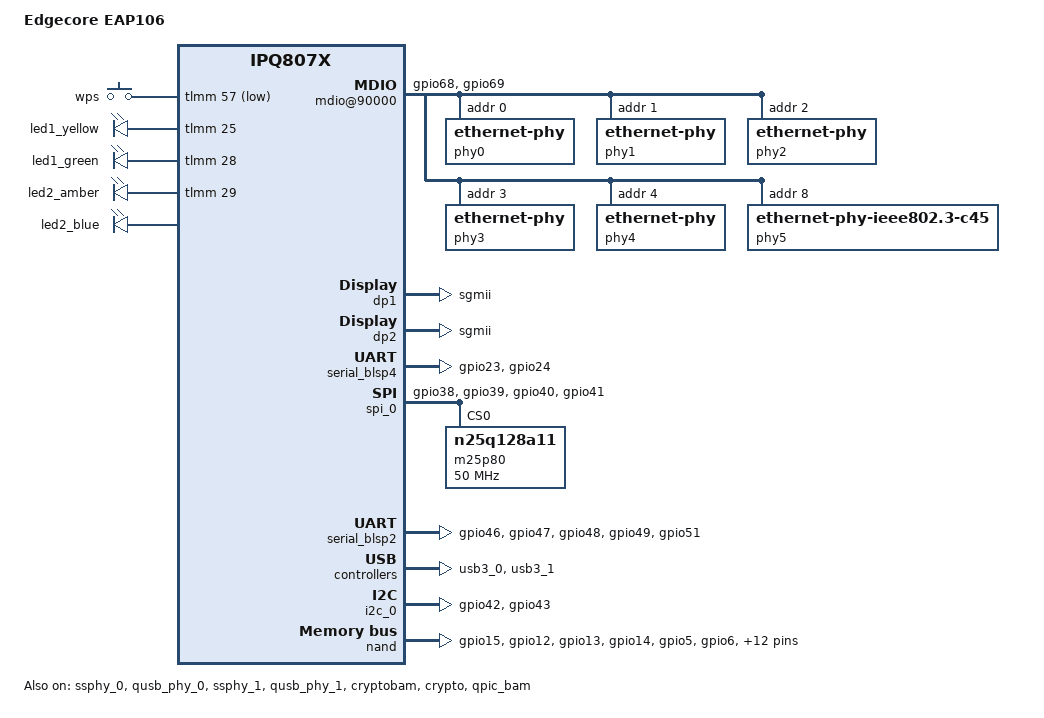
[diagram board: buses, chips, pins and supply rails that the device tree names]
/dts-v1/;
/*
 * Copyright (c) 2017-2018, The Linux Foundation. All rights reserved.
 *
 * Permission to use, copy, modify, and/or distribute this software for any
 * purpose with or without fee is hereby granted, provided that the above
 * copyright notice and this permission notice appear in all copies.
 *
 * THE SOFTWARE IS PROVIDED "AS IS" AND THE AUTHOR DISCLAIMS ALL WARRANTIES
 * WITH REGARD TO THIS SOFTWARE INCLUDING ALL IMPLIED WARRANTIES OF
 * MERCHANTABILITY AND FITNESS. IN NO EVENT SHALL THE AUTHOR BE LIABLE FOR
 * ANY SPECIAL, DIRECT, INDIRECT, OR CONSEQUENTIAL DAMAGES OR ANY DAMAGES
 * WHATSOEVER RESULTING FROM LOSS OF USE, DATA OR PROFITS, WHETHER IN AN
 * ACTION OF CONTRACT, NEGLIGENCE OR OTHER TORTIOUS ACTION, ARISING OUT OF
 * OR IN CONNECTION WITH THE USE OR PERFORMANCE OF THIS SOFTWARE.
 */
#include "qcom-ipq807x-soc.dtsi"
#include "qcom-ipq807x-hk-cpu.dtsi"

/ {
	#address-cells = <0x2>;
	#size-cells = <0x2>;
	model = "Edgecore EAP106";
	compatible = "edgecore,eap106", "qcom,ipq807x-hk02", "qcom,ipq807x";
	qcom,msm-id = <0x143 0x0>;
	interrupt-parent = <&intc>;
	qcom,board-id = <0x8 0x0>;
	qcom,pmic-id = <0x0 0x0 0x0 0x0>;

	aliases {
		/*
		 * Aliases as required by u-boot
		 * to patch MAC addresses
		 */
		ethernet0 = "/soc/dp1";
		ethernet1 = "/soc/dp2";
	};
	chosen {
		bootargs = "console=ttyMSM0,115200,n8 root=/dev/ram0 rw init=/init";
		#ifdef __IPQ_MEM_PROFILE_256_MB__
			bootargs-append = " swiotlb=1";
		#else
			bootargs-append = " swiotlb=1 coherent_pool=2M";
		#endif
	};
};

&tlmm {
	leds_pins: leds_pinmux {

		led1_yellow {
			pins = "gpio25";
			function = "gpio";
			drive-strength = <8>;
			bias-pull-down;
		};
		led1_green {
			pins = "gpio28";
			function = "gpio";
			drive-strength = <8>;
			bias-pull-down;
		};
		led2_amber {
			pins = "gpio29";
			function = "gpio";
			drive-strength = <8>;
			bias-pull-down;
		};
		led2_blue {
			pins = "gpio32";
			function = "gpio";
			drive-strength = <8>;
			bias-pull-down;
		};
	};

	mdio_pins: mdio_pinmux {
		mux_0 {
			pins = "gpio68";
			function = "mdc";
			drive-strength = <8>;
			bias-pull-up;
		};
		mux_1 {
			pins = "gpio69";
			function = "mdio";
			drive-strength = <8>;
			bias-pull-up;
		};
	};

	uart_pins: uart_pins {
		mux {
			pins = "gpio23", "gpio24";
			function = "blsp4_uart1";
			drive-strength = <8>;
			bias-disable;
		};
	};

	i2c_0_pins: i2c_0_pinmux {
		mux {
			pins = "gpio42", "gpio43";
			function = "blsp1_i2c";
			drive-strength = <8>;
			bias-disable;
		};
	};

	spi_0_pins: spi_0_pins {
		mux {
			pins = "gpio38", "gpio39", "gpio40", "gpio41";
			function = "blsp0_spi";
			drive-strength = <8>;
			bias-disable;
		};
	};

	qpic_pins: qpic_pins {
		data_0 {
			pins = "gpio15";
			function = "qpic_pad0";
			drive-strength = <8>;
			bias-disable;
		};
		data_1 {
			pins = "gpio12";
			function = "qpic_pad1";
			drive-strength = <8>;
			bias-disable;
		};
		data_2 {
			pins = "gpio13";
			function = "qpic_pad2";
			drive-strength = <8>;
			bias-disable;
		};
		data_3 {
			pins = "gpio14";
			function = "qpic_pad3";
			drive-strength = <8>;
			bias-disable;
		};
		data_4 {
			pins = "gpio5";
			function = "qpic_pad4";
			drive-strength = <8>;
			bias-disable;
		};
		data_5 {
			pins = "gpio6";
			function = "qpic_pad5";
			drive-strength = <8>;
			bias-disable;
		};
		data_6 {
			pins = "gpio7";
			function = "qpic_pad6";
			drive-strength = <8>;
			bias-disable;
		};
		data_7 {
			pins = "gpio8";
			function = "qpic_pad7";
			drive-strength = <8>;
			bias-disable;
		};
		data_8 {
			pins = "gpio16";
			function = "qpic_pad8";
			drive-strength = <8>;
			bias-disable;
		};
		qpic_pad {
			pins = "gpio0", "gpio1", "gpio2", "gpio3", "gpio4",
			       "gpio9", "gpio10", "gpio11", "gpio17";
			function = "qpic_pad";
			drive-strength = <8>;
			bias-disable;
		};
	};

	hsuart_pins: hsuart_pins {
		mux {
			pins = "gpio46", "gpio47", "gpio48", "gpio49";
			function = "blsp2_uart";
			drive-strength = <8>;
			bias-disable;
			output-low;
		};
		mux_1 {
			pins = "gpio51";
			function = "gpio";
			drive-strength = <8>;
			bias-disable;
			output-high;
		};
	};

	button_pins: button_pins {
		wps_button {
			pins = "gpio57";
			function = "gpio";
			drive-strength = <8>;
			bias-pull-up;
		};
	};

	uniphy_pins: uniphy_pinmux {
		mux {
			pins = "gpio60";
			function = "rx2";
			bias-disable;
		};
	};
	cnss_wlan_en_active: cnss_wlan_en_active {
		mux {
			pins = "gpio57";
			function = "gpio";
			drive-strength = <16>;
			output-high;
			bias-pull-up;
		};
	};

	cnss_wlan_en_sleep: cnss_wlan_en_sleep {
		mux {
			pins = "gpio57";
			function = "gpio";
			drive-strength = <2>;
			output-low;
			bias-pull-down;
		};
	};
};

&soc {
	gpio_keys {
		compatible = "gpio-keys";
		pinctrl-0 = <&button_pins>;
		pinctrl-names = "default";

		button@1 {
			label = "wps";
			linux,code = <KEY_WPS_BUTTON>;
			gpios = <&tlmm 57 GPIO_ACTIVE_LOW>;
			linux,input-type = <1>;
			debounce-interval = <60>;
		};
	};

	leds {
		compatible = "gpio-leds";
		pinctrl-0 = <&leds_pins>;
		pinctrl-names = "default";

		led@25 {
			label = "led1_yellow";
			gpios = <&tlmm 25 GPIO_ACTIVE_HIGH>;
			linux,default-trigger = "led1_yellow";
			default-state = "off";
		};

		led@28 {
			label = "led1_green";
			gpios = <&tlmm 28 GPIO_ACTIVE_HIGH>;
			linux,default-trigger = "led1_green";
			default-state = "off";
		};

		led@29 {
			label = "led2_amber";
			gpios = <&tlmm 29 GPIO_ACTIVE_HIGH>;
			linux,default-trigger = "led2_amber";
			default-state = "off";
		};

		led@32 {
			label = "led2_blue";
			gpio = <&tlmm 32 GPIO_ACTIVE_HIGH>;
			linux,default-trigger = "led2_blue";
			default-state = "off";
		};
	};

	mdio@90000 {
		pinctrl-0 = <&mdio_pins>;
		pinctrl-names = "default";
		phy-reset-gpio = <&tlmm 37 0>;
		phy0: ethernet-phy@0 {
			reg = <0>;
		};
		phy1: ethernet-phy@1 {
			reg = <1>;
		};
		phy2: ethernet-phy@2 {
			reg = <2>;
		};
		phy3: ethernet-phy@3 {
			reg = <3>;
		};
		phy4: ethernet-phy@4 {
			reg = <4>;
		};
		phy5: ethernet-phy@5 {
			compatible ="ethernet-phy-ieee802.3-c45";
			reg = <8>;
		};
	};

	ess-switch@3a000000 {
		pinctrl-0 = <&uniphy_pins>;
		pinctrl-names = "default";
		switch_cpu_bmp = <0x1>;  /* cpu port bitmap */
		switch_lan_bmp = <0x30>; /* lan port bitmap */
		switch_wan_bmp = <0x40>; /* wan port bitmap */
		switch_mac_mode = <0x0>; /* mac mode for uniphy instance0*/
		switch_mac_mode1 = <0xff>; /* mac mode for uniphy instance1*/
		switch_mac_mode2 = <0xd>; /* mac mode for uniphy instance2*/
		bm_tick_mode = <0>; /* bm tick mode */
		tm_tick_mode = <0>; /* tm tick mode */
		port_scheduler_resource {
			port@0 {
				port_id = <0>;
				ucast_queue = <0 143>;
				mcast_queue = <256 271>;
				l0sp = <0 35>;
				l0cdrr = <0 47>;
				l0edrr = <0 47>;
				l1cdrr = <0 7>;
				l1edrr = <0 7>;
			};
			port@1 {
				port_id = <1>;
				ucast_queue = <144 159>;
				mcast_queue = <272 275>;
				l0sp = <36 39>;
				l0cdrr = <48 63>;
				l0edrr = <48 63>;
				l1cdrr = <8 11>;
				l1edrr = <8 11>;
			};
			port@2 {
				port_id = <2>;
				ucast_queue = <160 175>;
				mcast_queue = <276 279>;
				l0sp = <40 43>;
				l0cdrr = <64 79>;
				l0edrr = <64 79>;
				l1cdrr = <12 15>;
				l1edrr = <12 15>;
			};
			port@3 {
				port_id = <3>;
				ucast_queue = <176 191>;
				mcast_queue = <280 283>;
				l0sp = <44 47>;
				l0cdrr = <80 95>;
				l0edrr = <80 95>;
				l1cdrr = <16 19>;
				l1edrr = <16 19>;
			};
			port@4 {
				port_id = <4>;
				ucast_queue = <192 207>;
				mcast_queue = <284 287>;
				l0sp = <48 51>;
				l0cdrr = <96 111>;
				l0edrr = <96 111>;
				l1cdrr = <20 23>;
				l1edrr = <20 23>;
			};
			port@5 {
				port_id = <5>;
				ucast_queue = <208 223>;
				mcast_queue = <288 291>;
				l0sp = <52 55>;
				l0cdrr = <112 127>;
				l0edrr = <112 127>;
				l1cdrr = <24 27>;
				l1edrr = <24 27>;
			};
			port@6 {
				port_id = <6>;
				ucast_queue = <224 239>;
				mcast_queue = <292 295>;
				l0sp = <56 59>;
				l0cdrr = <128 143>;
				l0edrr = <128 143>;
				l1cdrr = <28 31>;
				l1edrr = <28 31>;
			};
			port@7 {
				port_id = <7>;
				ucast_queue = <240 255>;
				mcast_queue = <296 299>;
				l0sp = <60 63>;
				l0cdrr = <144 159>;
				l0edrr = <144 159>;
				l1cdrr = <32 35>;
				l1edrr = <32 35>;
			};
		};
		port_scheduler_config {
			port@0 {
				port_id = <0>;
				l1scheduler {
					group@0 {
						sp = <0 1>; /*L0 SPs*/
						/*cpri cdrr epri edrr*/
						cfg = <0 0 0 0>;
					};
				};
				l0scheduler {
					group@0 {
						/*unicast queues*/
						ucast_queue = <0 4 8>;
						/*multicast queues*/
						mcast_queue = <256 260>;
						/*sp cpri cdrr epri edrr*/
						cfg = <0 0 0 0 0>;
					};
					group@1 {
						ucast_queue = <1 5 9>;
						mcast_queue = <257 261>;
						cfg = <0 1 1 1 1>;
					};
					group@2 {
						ucast_queue = <2 6 10>;
						mcast_queue = <258 262>;
						cfg = <0 2 2 2 2>;
					};
					group@3 {
						ucast_queue = <3 7 11>;
						mcast_queue = <259 263>;
						cfg = <0 3 3 3 3>;
					};
				};
			};
			port@1 {
				port_id = <1>;
				l1scheduler {
					group@0 {
						sp = <36>;
						cfg = <0 8 0 8>;
					};
					group@1 {
						sp = <37>;
						cfg = <1 9 1 9>;
					};
				};
				l0scheduler {
					group@0 {
						ucast_queue = <144>;
						ucast_loop_pri = <16>;
						mcast_queue = <272>;
						mcast_loop_pri = <4>;
						cfg = <36 0 48 0 48>;
					};
				};
			};
			port@2 {
				port_id = <2>;
				l1scheduler {
					group@0 {
						sp = <40>;
						cfg = <0 12 0 12>;
					};
					group@1 {
						sp = <41>;
						cfg = <1 13 1 13>;
					};
				};
				l0scheduler {
					group@0 {
						ucast_queue = <160>;
						ucast_loop_pri = <16>;
						mcast_queue = <276>;
						mcast_loop_pri = <4>;
						cfg = <40 0 64 0 64>;
					};
				};
			};
			port@3 {
				port_id = <3>;
				l1scheduler {
					group@0 {
						sp = <44>;
						cfg = <0 16 0 16>;
					};
					group@1 {
						sp = <45>;
						cfg = <1 17 1 17>;
					};
				};
				l0scheduler {
					group@0 {
						ucast_queue = <176>;
						ucast_loop_pri = <16>;
						mcast_queue = <280>;
						mcast_loop_pri = <4>;
						cfg = <44 0 80 0 80>;
					};
				};
			};
			port@4 {
				port_id = <4>;
				l1scheduler {
					group@0 {
						sp = <48>;
						cfg = <0 20 0 20>;
					};
					group@1 {
						sp = <49>;
						cfg = <1 21 1 21>;
					};
				};
				l0scheduler {
					group@0 {
						ucast_queue = <192>;
						ucast_loop_pri = <16>;
						mcast_queue = <284>;
						mcast_loop_pri = <4>;
						cfg = <48 0 96 0 96>;
					};
				};
			};
			port@5 {
				port_id = <5>;
				l1scheduler {
					group@0 {
						sp = <52>;
						cfg = <0 24 0 24>;
					};
					group@1 {
						sp = <53>;
						cfg = <1 25 1 25>;
					};
				};
				l0scheduler {
					group@0 {
						ucast_queue = <208>;
						ucast_loop_pri = <16>;
						mcast_queue = <288>;
						mcast_loop_pri = <4>;
						cfg = <52 0 112 0 112>;
					};
				};
			};
			port@6 {
				port_id = <6>;
				l1scheduler {
					group@0 {
						sp = <56>;
						cfg = <0 28 0 28>;
					};
					group@1 {
						sp = <57>;
						cfg = <1 29 1 29>;
					};
				};
				l0scheduler {
					group@0 {
						ucast_queue = <224>;
						ucast_loop_pri = <16>;
						mcast_queue = <292>;
						mcast_loop_pri = <4>;
						cfg = <56 0 128 0 128>;
					};
				};
			};
			port@7 {
				port_id = <7>;
				l1scheduler {
					group@0 {
						sp = <60>;
						cfg = <0 32 0 32>;
					};
					group@1 {
						sp = <61>;
						cfg = <1 33 1 33>;
					};
				};
				l0scheduler {
					group@0 {
						ucast_queue = <240>;
						ucast_loop_pri = <16>;
						mcast_queue = <296>;
						cfg = <60 0 144 0 144>;
					};
				};
			};
		};
	};

	dp1 {
		device_type = "network";
		compatible = "qcom,nss-dp";
		qcom,id = <4>;
		reg = <0x3a001600 0x200>;
		qcom,mactype = <0>;
		local-mac-address = [000000000000];
		qcom,link-poll = <1>;
		qcom,phy-mdio-addr = <3>;
		phy-mode = "sgmii";
	};

	dp2 {
		device_type = "network";
		compatible = "qcom,nss-dp";
		qcom,id = <6>;
		reg = <0x3a007000 0x3fff>;
		qcom,mactype = <1>;
		local-mac-address = [000000000000];
		qcom,link-poll = <1>;
		qcom,phy-mdio-addr = <8>;
		phy-mode = "sgmii";
	};
	wifi3: wifi3@f00000 {
		compatible  = "qcom,cnss-qcn9000";
		wlan-en-gpio = <&tlmm 57 0>;
		pinctrl-names = "wlan_en_active", "wlan_en_sleep";
		pinctrl-0 = <&cnss_wlan_en_active>;
		pinctrl-1 = <&cnss_wlan_en_sleep>;
		status = "disabled";
	};
};

&serial_blsp4 {
       pinctrl-0 = <&uart_pins>;
       pinctrl-names = "default";
       status = "ok";
};

&spi_0 { /* BLSP1 QUP1 */
	pinctrl-0 = <&spi_0_pins>;
	pinctrl-names = "default";
	cs-select = <0>;
	status = "ok";

	m25p80@0 {
		#address-cells = <1>;
		#size-cells = <1>;
		reg = <0>;
		compatible = "n25q128a11";
		linux,modalias = "m25p80", "n25q128a11";
		spi-max-frequency = <50000000>;
		use-default-sizes;
	};
};

&serial_blsp2 {
	pinctrl-0 = <&hsuart_pins>;
	pinctrl-names = "default";
	status = "ok";
};

&msm_imem {
	status = "disabled";
};

&ssphy_0 {
	status = "ok";
};

&qusb_phy_0 {
	status = "ok";
};

&ssphy_1 {
	status = "ok";
};

&qusb_phy_1 {
	status = "ok";
};

&usb3_0 {
	status = "ok";
};

&usb3_1 {
	status = "ok";
};

&cryptobam {
	status = "ok";
};

&crypto {
	status = "ok";
};

&i2c_0 {
	pinctrl-0 = <&i2c_0_pins>;
	pinctrl-names = "default";
	status = "ok";
};

&i2c_1 {
	status = "disabled";
};

&qpic_bam {
	status = "ok";
};

&nand {
	pinctrl-0 = <&qpic_pins>;
	pinctrl-names = "default";
	status = "ok";
};

&pcie0 {
	status = "disabled";
};
